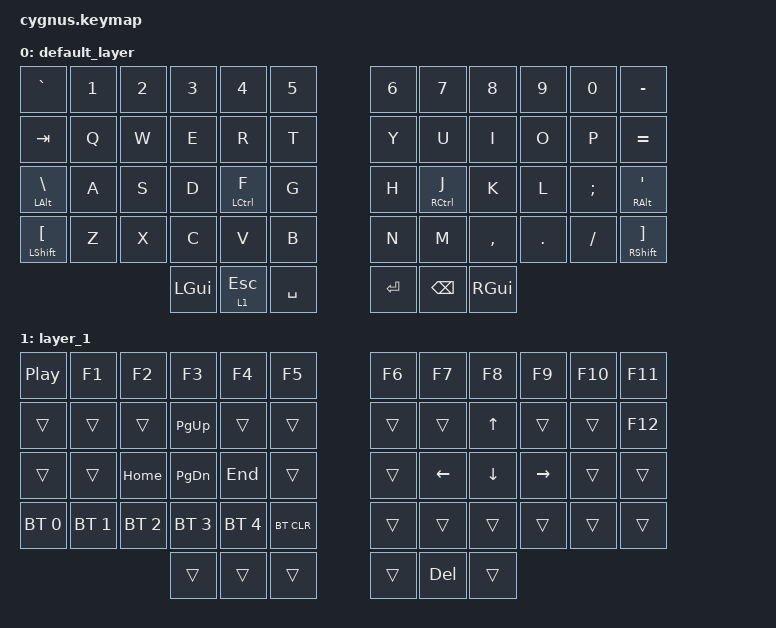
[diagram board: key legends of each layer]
#include <behaviors.dtsi>
#include <dt-bindings/zmk/bt.h>
#include <dt-bindings/zmk/keys.h>

/ {
    combos {
        compatible = "zmk,combos";

        bluetooth {
            bindings = <&mo 0>;
            key-positions = <41 36>;
        };

        bt2 {
            bindings = <&mo 0>;
            key-positions = <48 53>;
        };
    };

    behaviors {
        hml: hml {
            compatible = "zmk,behavior-hold-tap";
            label = "HOME_ROW_LEFT";
            bindings = <&kp>, <&kp>;

            #binding-cells = <2>;
            hold-trigger-key-positions = <6 7 8 9 10 11 18 19 20 21 22 23 30 31 32 33 34 35 42 43 44 45 46 47>;
            tapping-term-ms = <250>;
            quick-tap-ms = <150>;
            require-prior-idle-ms = <100>;
            flavor = "balanced";
            hold-while-undecided;
        };

        hmr: hmr {
            compatible = "zmk,behavior-hold-tap";
            label = "HOME_ROW_RIGHT";
            bindings = <&kp>, <&kp>;

            #binding-cells = <2>;
            tapping-term-ms = <250>;
            quick-tap-ms = <150>;
            require-prior-idle-ms = <100>;
            flavor = "balanced";
            hold-trigger-key-positions = <0 1 2 3 4 5 12 13 14 15 16 17 24 25 26 27 28 29 36 37 38 39 40 41>;
            hold-while-undecided;
        };

        shift_left: shift_left {
            compatible = "zmk,behavior-hold-tap";
            label = "SHIFT_LEFT";
            bindings = <&kp>, <&kp>;

            #binding-cells = <2>;
            hold-trigger-key-positions = <6 7 8 9 10 11 18 19 20 21 22 23 30 31 32 33 34 35 42 43 44 45 46 47>;
            tapping-term-ms = <250>;
            quick-tap-ms = <150>;
            require-prior-idle-ms = <75>;
            flavor = "balanced";
            hold-while-undecided;
        };

        shift_right: shift_right {
            compatible = "zmk,behavior-hold-tap";
            label = "SHIFT_RIGHT";
            bindings = <&kp>, <&kp>;

            #binding-cells = <2>;
            tapping-term-ms = <250>;
            quick-tap-ms = <150>;
            require-prior-idle-ms = <75>;
            flavor = "balanced";
            hold-trigger-key-positions = <0 1 2 3 4 5 12 13 14 15 16 17 24 25 26 27 28 29 36 37 38 39 40 41>;
            hold-while-undecided;
        };
    };

    keymap {
        compatible = "zmk,keymap";

        default_layer {
            // -----------------------------------------------------------------------------------------
            // |  ESC |  1  |  2  |  3  |  4  |  5  |   |  6  |  7   |  8  |  9  |  0  |  ?   |
            // |  TAB |  Q  |  W  |  E  |  R  |  T  |   |  Y  |  U   |  I  |  O  |  P  | BKSP |
            // | CTRL |  A  |  S  |  D  |  F  |  G  |   |  H  |  J   |  K  |  L  |  ;  |  '   |
            // | SHFT |  Z  |  X  |  C  |  V  |  B  |   |  N  |  M   |  ,  |  .  |  /  | ESC  |
            //                    | GUI | LWR | SPC |   | ENT | RSE  | ALT |

            bindings = <
&kp GRAVE                            &kp N1  &kp N2  &kp N3        &kp N4        &kp N5       &kp N6     &kp N7         &kp N8         &kp N9   &kp N0     &kp MINUS
&kp TAB                              &kp Q   &kp W   &kp E         &kp R         &kp T        &kp Y      &kp U          &kp I          &kp O    &kp P      &kp EQUAL
&hml LEFT_ALT BACKSLASH              &kp A   &kp S   &kp D         &hml LCTRL F  &kp G        &kp H      &hmr RCTRL J   &kp K          &kp L    &kp SEMI   &hmr RIGHT_ALT SQT
&shift_left LEFT_SHIFT LEFT_BRACKET  &kp Z   &kp X   &kp C         &kp V         &kp B        &kp N      &kp M          &kp COMMA      &kp DOT  &kp SLASH  &shift_right RIGHT_SHIFT RIGHT_BRACKET
                                                     &kp LEFT_GUI  &lt 1 ESCAPE  &kp SPACE    &kp ENTER  &kp BACKSPACE  &kp RIGHT_GUI
            >;
        };

        layer_1 {
            // -----------------------------------------------------------------------------------------
            // |  TAB |  F1 |  F2 |  F3 |  F4 |  F5 |   |  F6 |  F7 |  F8 |  F9 | F10 | BKSP |
            // |  TAB |  1  |  2  |  3  |  4  |  5  |   |  6  |  7  |  8  |  9  |  0  | BKSP |
            // | BTCLR| BT1 | BT2 | BT3 | BT4 | BT5 |   | LFT | DWN |  UP | RGT |     |      |
            // | SHFT |     |     |     |     |     |   |     |     |     |     |     |      |
            //                    | GUI |     | SPC |   | ENT |     | ALT |

            bindings = <
&kp C_PLAY_PAUSE  &kp F1        &kp F2        &kp F3         &kp F4        &kp F5        &kp F6  &kp F7          &kp F8          &kp F9     &kp F10  &kp F11
&trans            &trans        &trans        &kp PAGE_UP    &trans        &trans        &trans  &trans          &kp UP_ARROW    &trans     &trans   &kp F12
&trans            &trans        &kp HOME      &kp PAGE_DOWN  &kp END       &trans        &trans  &kp LEFT_ARROW  &kp DOWN_ARROW  &kp RIGHT  &trans   &trans
&bt BT_SEL 0      &bt BT_SEL 1  &bt BT_SEL 2  &bt BT_SEL 3   &bt BT_SEL 4  &bt BT_CLR    &trans  &trans          &trans          &trans     &trans   &trans
                                              &trans         &trans        &trans        &trans  &kp DELETE      &trans
            >;
        };
    };
};
